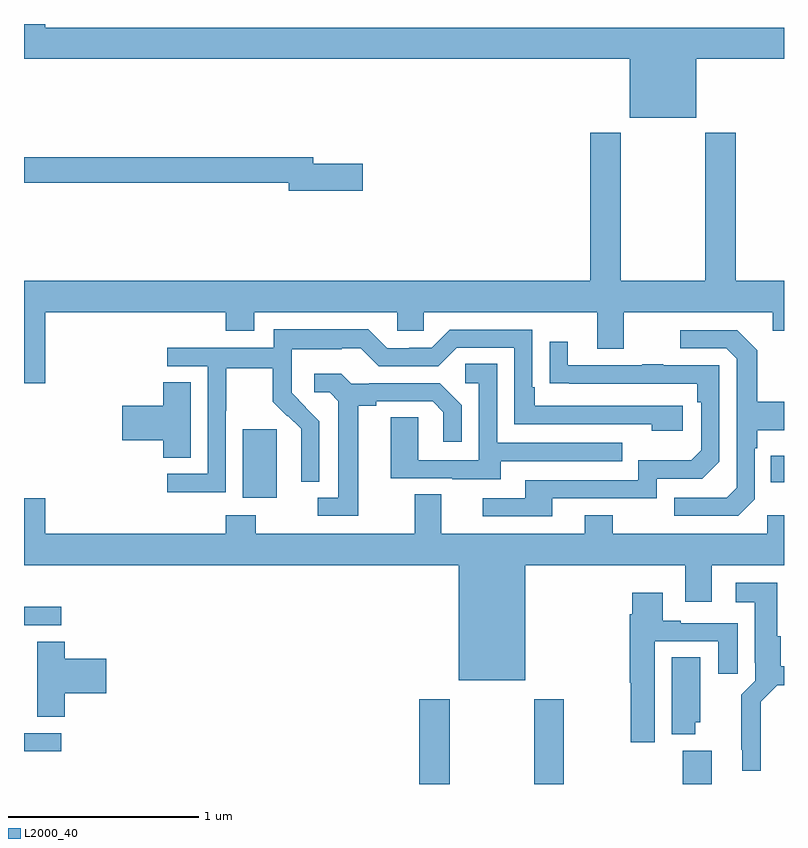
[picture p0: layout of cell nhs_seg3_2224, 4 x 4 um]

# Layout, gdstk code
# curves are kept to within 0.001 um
import gdstk
lib = gdstk.Library(unit=1e-6, precision=1e-09)
def R(c, l, rs):  # rectangles x0, y0, x1, y1
    for r in rs: c.add(gdstk.rectangle(r[:2], r[2:], *l))
def P(c, l, *ps):  # polygons
    for p in ps: c.add(gdstk.Polygon(p, *l))
L2000_40 = (2000, 40)

nhs_seg3_2224 = lib.new_cell('nhs_seg3_2224')
R(nhs_seg3_2224, L2000_40, [(227.081,730.4,227.241,730.846), (227.686,730.4,227.841,730.846), (228.467,730.4,228.619,730.576), (225,730.572,225.196,730.668), (225,731.235,225.196,731.334), (226.151,731.906,226.33,732.267), (228.931,731.987,229,732.127)])
P(nhs_seg3_2224, L2000_40, [(228.538,734.216),(229,734.216),(229,734.38),(225.112,734.38),(225.112,734.4),(225,734.4),(225,734.216),(228.188,734.216),(228.188,733.907),(228.538,733.907)],
  [(225.112,732.884),(226.061,732.884),(226.061,732.785),(226.213,732.785),(226.213,732.884),(226.965,732.884),(226.965,732.786),(227.103,732.786),(227.103,732.884),(228.017,732.884),(228.017,732.69),(228.157,732.69),(228.157,732.884),(228.941,732.884),(228.941,732.785),(229,732.785),(229,733.048),(228.746,733.048),(228.746,733.828),(228.586,733.828),(228.586,733.048),(228.141,733.048),(228.141,733.828),(227.981,733.828),(227.981,733.048),(225,733.048),(225,732.51),(225.112,732.51)],
  [(226.783,733.664),(226.522,733.664),(226.522,733.7),(225,733.7),(225,733.564),(226.394,733.564),(226.394,733.522),(226.783,733.522)],
  [(226.062,732.364),(226.065,732.364),(226.065,732.588),(226.309,732.588),(226.309,732.413),(226.386,732.336),(226.389,732.339),(226.46,732.269),(226.46,732.146),(226.458,732.146),(226.458,731.992),(226.554,731.992),(226.554,732.31),(226.408,732.458),(226.408,732.555),(226.41,732.555),(226.41,732.689),(226.673,732.689),(226.673,732.693),(226.773,732.693),(226.866,732.6),(227.181,732.6),(227.277,732.696),(227.58,732.696),(227.58,732.294),(228.305,732.294),(228.305,732.26),(228.466,732.26),(228.466,732.39),(227.689,732.39),(227.689,732.487),(227.676,732.487),(227.676,732.792),(227.241,732.792),(227.145,732.696),(227.027,732.696),(227.027,732.693),(226.911,732.693),(226.811,732.793),(226.314,732.793),(226.314,732.696),(225.753,732.696),(225.753,732.6),(225.966,732.6),(225.966,732.033),(225.753,732.033),(225.753,731.935),(226.062,731.935)],
  [(228.846,731.898),(228.846,732.167),(228.859,732.167),(228.859,732.263),(229,732.263),(229,732.411),(228.859,732.411),(228.859,732.683),(228.753,732.789),(228.453,732.789),(228.453,732.693),(228.696,732.693),(228.75,732.639),(228.75,731.958),(228.699,731.907),(228.423,731.907),(228.423,731.811),(228.759,731.811)],
  [(227.779,731.904),(228.33,731.904),(228.33,732.006),(228.57,732.006),(228.66,732.096),(228.66,732.603),(228.365,732.603),(228.365,732.608),(228.253,732.608),(228.253,732.603),(227.863,732.603),(227.863,732.727),(227.767,732.727),(227.767,732.508),(228.544,732.507),(228.544,732.41),(228.564,732.41),(228.564,732.156),(228.511,732.103),(228.234,732.103),(228.234,732),(227.639,732),(227.639,731.904),(227.415,731.904),(227.415,731.808),(227.779,731.808)],
  [(227.509,732.099),(228.149,732.099),(228.149,732.195),(227.49,732.195),(227.49,732.611),(227.322,732.611),(227.322,732.51),(227.394,732.51),(227.394,732.105),(227.076,732.105),(227.076,732.329),(226.931,732.329),(226.931,732.009),(227.255,732.009),(227.255,732.005),(227.509,732.005)],
  [(226.759,732.392),(226.855,732.392),(226.855,732.414),(227.15,732.414),(227.207,732.357),(227.207,732.201),(227.304,732.201),(227.304,732.394),(227.188,732.51),(226.816,732.51),(226.816,732.507),(226.722,732.507),(226.67,732.559),(226.527,732.559),(226.527,732.462),(226.608,732.462),(226.655,732.415),(226.655,731.907),(226.545,731.907),(226.545,731.811),(226.759,731.811)],
  [(225.877,732.515),(225.734,732.515),(225.734,732.392),(225.516,732.392),(225.516,732.209),(225.734,732.209),(225.734,732.118),(225.877,732.118)],
  [(227.638,731.552),(228.479,731.552),(228.479,731.358),(228.619,731.358),(228.619,731.552),(229,731.552),(229,731.815),(228.912,731.815),(228.912,731.716),(228.099,731.716),(228.099,731.815),(227.951,731.815),(227.951,731.716),(227.197,731.716),(227.197,731.924),(227.057,731.924),(227.057,731.716),(226.221,731.716),(226.221,731.815),(226.061,731.815),(226.061,731.716),(225.112,731.716),(225.112,731.905),(225,731.905),(225,731.552),(227.288,731.552),(227.288,730.946),(227.638,730.946)],
  [(228.877,730.832),(228.964,730.92),(229,730.92),(229,731.021),(228.982,731.021),(228.982,731.178),(228.964,731.178),(228.964,731.458),(228.747,731.458),(228.747,731.357),(228.845,731.357),(228.845,731.038),(228.849,731.038),(228.849,730.944),(228.775,730.87),(228.775,730.579),(228.779,730.579),(228.779,730.469),(228.877,730.469)],
  [(228.319,731.151),(228.653,731.151),(228.653,730.98),(228.757,730.98),(228.757,731.247),(228.457,731.247),(228.457,731.26),(228.361,731.26),(228.361,731.407),(228.2,731.407),(228.2,731.294),(228.188,731.294),(228.188,730.932),(228.193,730.932),(228.193,730.62),(228.319,730.62)],
  [(225.215,730.877),(225.433,730.877),(225.433,731.06),(225.215,731.06),(225.215,731.15),(225.071,731.15),(225.071,730.753),(225.215,730.753)],
  [(228.532,730.725),(228.559,730.725),(228.559,731.066),(228.41,731.066),(228.41,730.661),(228.532,730.661)])

lib.write_gds('nhs_seg3_2224.gds')
